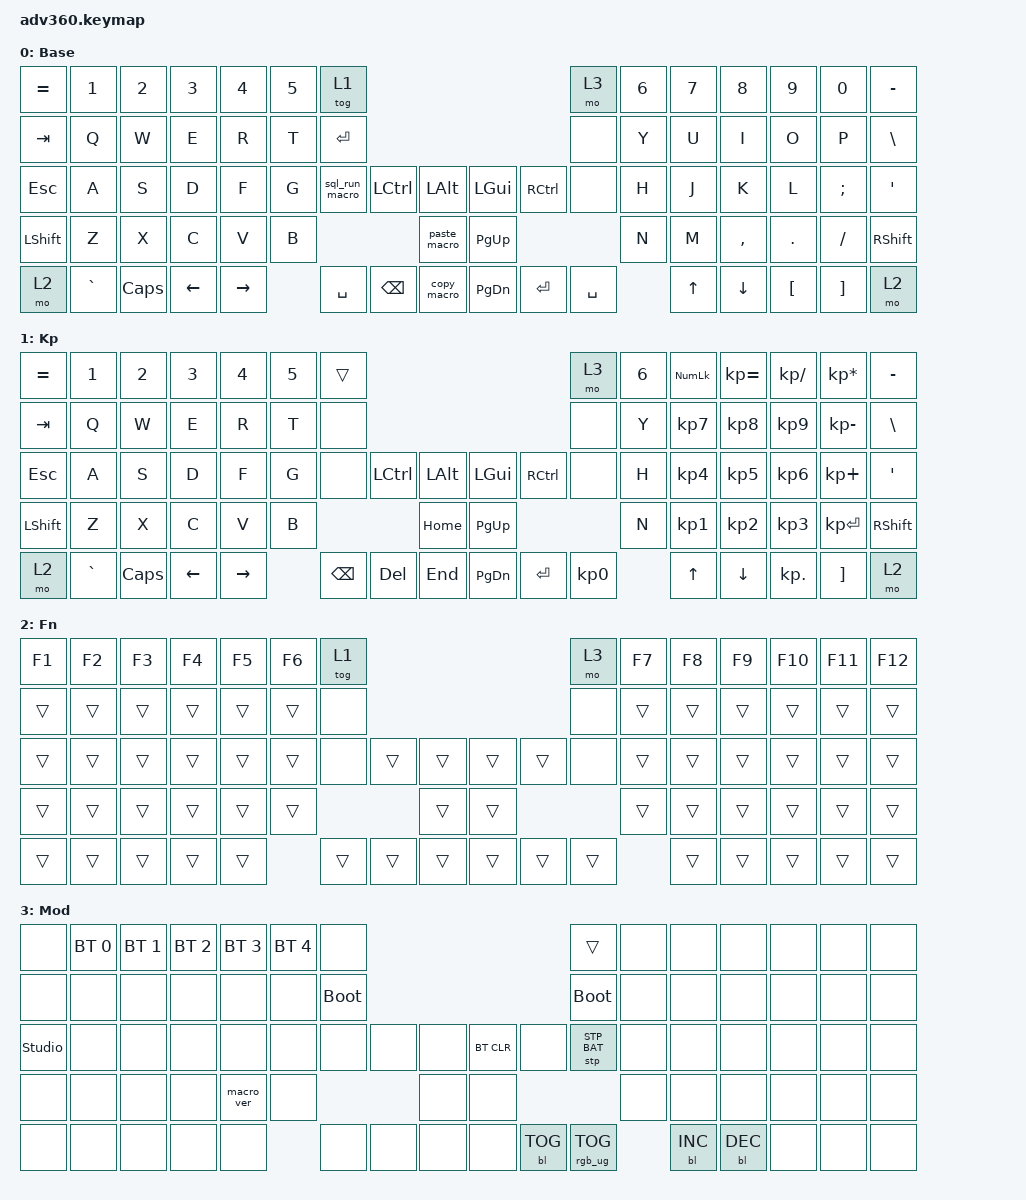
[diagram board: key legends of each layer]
#include <dt-bindings/zmk/stp.h>
#include <behaviors.dtsi>
#include <dt-bindings/zmk/backlight.h>
#include <dt-bindings/zmk/bt.h>
#include <dt-bindings/zmk/keys.h>
#include <dt-bindings/zmk/rgb.h>

/ {
    behaviors {
        #include "macros.dtsi"
      #include "version.dtsi"

        hm: homerow_mods {
            compatible = "zmk,behavior-hold-tap";
            label = "HOMEROW_MODS";
            #binding-cells = <2>;
            tapping-term-ms = <200>;
            quick_tap_ms = <175>;
            flavor = "tap-preferred";
            bindings = <&kp>, <&kp>;
        };
    };

    macros {
        paste_macro: paste_macro {
            compatible = "zmk,behavior-macro";
            #binding-cells = <0>;
            bindings = <&kp LC(V)>;
            label = "PASTE_MACRO";
        };

        copy_macro: copy_macro {
            compatible = "zmk,behavior-macro";
            #binding-cells = <0>;
            bindings = <&kp LC(C)>;
            label = "COPY_MACRO";
        };

        sql_run_macro: sql_run_macro {
            compatible = "zmk,behavior-macro";
            #binding-cells = <0>;
            bindings = <&kp LA(X)>;
            label = "SQL_RUN_MACRO";
        };
    };

    keymap {
        compatible = "zmk,keymap";

        default_layer {
            display-name = "Base";
            bindings = <
&kp EQUAL  &kp N1     &kp N2    &kp N3    &kp N4     &kp N5  &tog 1                                                                 &mo 3      &kp N6  &kp N7  &kp N8     &kp N9    &kp N0    &kp MINUS
&kp TAB    &kp Q      &kp W     &kp E     &kp R      &kp T   &kp ENTER                                                              &none      &kp Y   &kp U   &kp I      &kp O     &kp P     &kp BSLH
&kp ESC    &kp A      &kp S     &kp D     &kp F      &kp G   &sql_run_macro  &kp LCTRL      &kp LALT          &kp LGUI   &kp RCTRL  &none      &kp H   &kp J   &kp K      &kp L     &kp SEMI  &kp SQT
&kp LSHFT  &kp Z      &kp X     &kp C     &kp V      &kp B                                  &paste_macro      &kp PG_UP                        &kp N   &kp M   &kp COMMA  &kp DOT   &kp FSLH  &kp RSHFT
&mo 2      &kp GRAVE  &kp CAPS  &kp LEFT  &kp RIGHT          &kp SPACE       &kp BACKSPACE  &copy_macro       &kp PG_DN  &kp ENTER  &kp SPACE          &kp UP  &kp DOWN   &kp LBKT  &kp RBKT  &mo 2
            >;
        };

        keypad {
            display-name = "Kp";
            bindings = <
&kp EQUAL  &kp N1     &kp N2    &kp N3    &kp N4     &kp N5  &trans                                                   &mo 3      &kp N6  &kp KP_NUM  &kp KP_EQUAL  &kp KP_DIVIDE  &kp KP_MULTIPLY  &kp MINUS
&kp TAB    &kp Q      &kp W     &kp E     &kp R      &kp T   &none                                                    &none      &kp Y   &kp KP_N7   &kp KP_N8     &kp KP_N9      &kp KP_MINUS     &kp BSLH
&kp ESC    &kp A      &kp S     &kp D     &kp F      &kp G   &none     &kp LCTRL  &kp LALT      &kp LGUI   &kp RCTRL  &none      &kp H   &kp KP_N4   &kp KP_N5     &kp KP_N6      &kp KP_PLUS      &kp SQT
&kp LSHFT  &kp Z      &kp X     &kp C     &kp V      &kp B                        &kp HOME      &kp PG_UP                        &kp N   &kp KP_N1   &kp KP_N2     &kp KP_N3      &kp KP_ENTER     &kp RSHFT
&mo 2      &kp GRAVE  &kp CAPS  &kp LEFT  &kp RIGHT          &kp BSPC  &kp DEL    &kp END       &kp PG_DN  &kp ENTER  &kp KP_N0          &kp UP      &kp DOWN      &kp KP_DOT     &kp RBKT         &mo 2
            >;
        };

        fn {
            display-name = "Fn";
            bindings = <
&kp F1  &kp F2  &kp F3  &kp F4  &kp F5  &kp F6  &tog 1                                      &mo 3   &kp F7  &kp F8  &kp F9  &kp F10  &kp F11  &kp F12
&trans  &trans  &trans  &trans  &trans  &trans  &none                                       &none   &trans  &trans  &trans  &trans   &trans   &trans
&trans  &trans  &trans  &trans  &trans  &trans  &none   &trans  &trans      &trans  &trans  &none   &trans  &trans  &trans  &trans   &trans   &trans
&trans  &trans  &trans  &trans  &trans  &trans                  &trans      &trans                  &trans  &trans  &trans  &trans   &trans   &trans
&trans  &trans  &trans  &trans  &trans          &trans  &trans  &trans      &trans  &trans  &trans          &trans  &trans  &trans   &trans   &trans
            >;
        };

        mod {
            display-name = "Mod";
            bindings = <
&none           &bt BT_SEL 0  &bt BT_SEL 1  &bt BT_SEL 2  &bt BT_SEL 3  &bt BT_SEL 4  &none                                                  &trans           &none  &none       &none       &none  &none  &none
&none           &none         &none         &none         &none         &none         &bootloader                                            &bootloader      &none  &none       &none       &none  &none  &none
&studio_unlock  &none         &none         &none         &none         &none         &none        &none  &none      &bt BT_CLR  &none       &stp STP_BAT     &none  &none       &none       &none  &none  &none
&none           &none         &none         &none         &macro_ver    &none                             &none      &none                                    &none  &none       &none       &none  &none  &none
&none           &none         &none         &none         &none                       &none        &none  &none      &none       &bl BL_TOG  &rgb_ug RGB_TOG         &bl BL_INC  &bl BL_DEC  &none  &none  &none
            >;
        };

        extra1 {
            display-name = "Red";
            status = "reserved";
        };

        extra2 {
            display-name = "Purple";
            status = "reserved";
        };

        extra3 {
            display-name = "Cyan";
            status = "reserved";
        };

        extra4 {
            display-name = "Yellow";
            status = "reserved";
        };
    };
};
